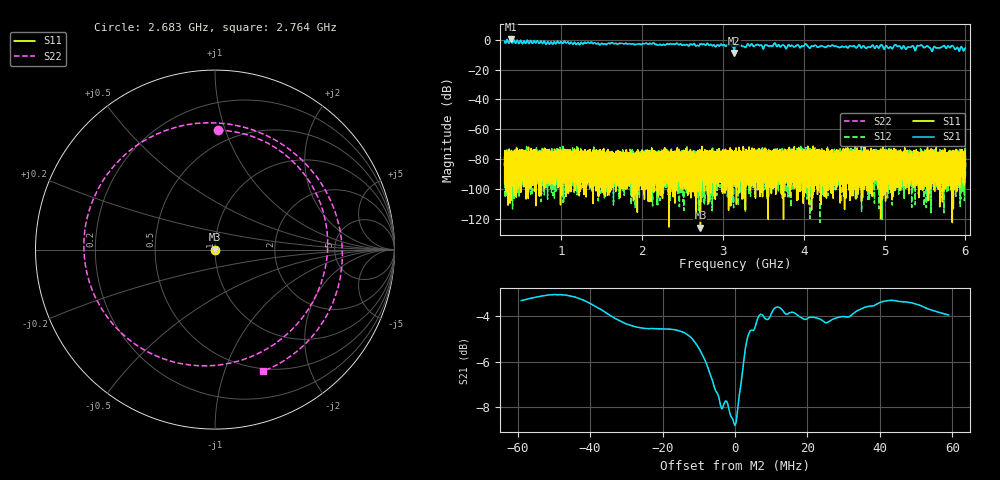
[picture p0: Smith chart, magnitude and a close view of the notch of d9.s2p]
!Agilent Technologies,N5230C,SG49000117,A.08.50.07
!Agilent N5230C: A.08.50.07
!Date: Monday, March 18, 2024 19:01:28
!Correction: S11(Off)
!S21(Off)
!S12(Off)
!S22(Off)
!S2P File: Measurements: S11, S21, S12, S22:
# Hz S  RI  R 50
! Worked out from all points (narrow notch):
!   20001 points, 300 MHz to 6 GHz, reference 50 ohm
!   highest |S21| = 0.44 dB at 374.1 MHz (marker M1); lowest = -8.8 dB at 3.142 GHz (marker M2)
!   notch at M2: 5.2 dB deep, 9.86 MHz wide at half that depth
!   lowest |S11| = -125.9 dB at 2.722 GHz (marker M3), VSWR 1.00, Z = 50 - j2.39e-05 ohm
!   |S11| at or under -10 dB: start of sweep to end of sweep
!   |S22| runs from -8.8 to 0.5 dB; largest |S21 - S12| = 1.1
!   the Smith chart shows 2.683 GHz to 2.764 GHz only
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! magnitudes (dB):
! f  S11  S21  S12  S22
! 300 MHz  -78.6  -1.0  -82.4  -0.9
! 374.1 MHz  -85.7  0.4  -86.0  0.5
! 1.25 GHz  -74.0  -1.8  -74.5  -1.7
! 2.2 GHz  -92.2  -3.8  -80.7  -3.8
! 2.722 GHz  -125.9  -2.7  -85.4  -2.7
! 3.078 GHz  -81.5  -3.5  -84.7  -3.4
! 3.142 GHz  -79.1  -8.8  -75.6  -8.8
! 3.15 GHz  -82.3  -4.0  -77.7  -4.0
! 3.331 GHz  -77.2  -4.1  -85.8  -4.1
! 3.487 GHz  -86.3  -4.7  -82.2  -4.6
! 3.637 GHz  -79.1  -2.4  -83.8  -2.3
! 3.776 GHz  -89.5  -5.5  -83.5  -5.4
! 4.022 GHz  -77.1  -2.7  -95.9  -2.6
! 4.1 GHz  -83.0  -4.1  -78.8  -4.0
! 5.05 GHz  -84.2  -5.7  -90.3  -5.7
! 5.143 GHz  -82.2  -3.6  -82.4  -3.6
! 5.378 GHz  -97.2  -7.4  -78.3  -7.4
! 5.437 GHz  -84.9  -3.9  -83.2  -3.9
! 5.539 GHz  -83.3  -4.5  -81.3  -4.5
! 5.577 GHz  -80.3  -6.8  -88.0  -6.8
! 5.723 GHz  -82.6  -4.3  -78.8  -4.4
! 6 GHz  -84.9  -5.5  -79.4  -5.5
